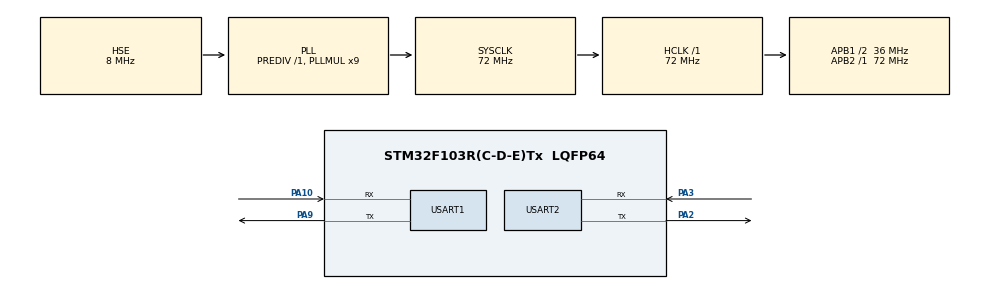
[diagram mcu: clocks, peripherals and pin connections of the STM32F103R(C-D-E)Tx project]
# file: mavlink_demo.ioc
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Mcu.Family=STM32F1
Mcu.Name=STM32F103R(C-D-E)Tx
Mcu.Package=LQFP64
NVIC.PriorityGroup=NVIC_PRIORITYGROUP_4
NVIC.USART1_IRQn=true\:0\:0\:false\:false\:true\:true\:true\:true
PA10.Mode=Asynchronous
PA10.Signal=USART1_RX
PA13.Mode=Serial_Wire
PA13.Signal=SYS_JTMS-SWDIO
PA14.Mode=Serial_Wire
PA14.Signal=SYS_JTCK-SWCLK
PA2.Mode=Asynchronous
PA2.Signal=USART2_TX
PA3.Mode=Asynchronous
PA3.Signal=USART2_RX
PA9.Mode=Asynchronous
PA9.Signal=USART1_TX
PD0-OSC_IN.Mode=HSE-External-Oscillator
PD0-OSC_IN.Signal=RCC_OSC_IN
PD1-OSC_OUT.Mode=HSE-External-Oscillator
PD1-OSC_OUT.Signal=RCC_OSC_OUT
ProjectManager.HeapSize=0x200
ProjectManager.StackSize=0x400
ProjectManager.TargetToolchain=Makefile
RCC.AHBFreq_Value=72000000
RCC.APB1CLKDivider=RCC_HCLK_DIV2
RCC.APB1Freq_Value=36000000
RCC.APB1TimFreq_Value=72000000
RCC.APB2Freq_Value=72000000
RCC.APB2TimFreq_Value=72000000
RCC.HCLKFreq_Value=72000000
RCC.PLLMUL=RCC_PLL_MUL9
RCC.PLLSourceVirtual=RCC_PLLSOURCE_HSE
RCC.SYSCLKFreq_VALUE=72000000
RCC.SYSCLKSource=RCC_SYSCLKSOURCE_PLLCLK
RCC.USBFreq_Value=72000000
USART1.VirtualMode=VM_ASYNC
USART2.VirtualMode=VM_ASYNC
board=custom

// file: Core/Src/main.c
/* USER CODE BEGIN Header */
/**
 ******************************************************************************
 * @file           : main.c
 * @brief          : Main program body
 ******************************************************************************
 * @attention
 *
 * Copyright (c) 2024 STMicroelectronics.
 * All rights reserved.
 *
 * This software is licensed under terms that can be found in the LICENSE file
 * in the root directory of this software component.
 * If no LICENSE file comes with this software, it is provided AS-IS.
 *
 ******************************************************************************
 */
/* USER CODE END Header */
#include "main.h"
#include "usart.h"
#include "gpio.h"

/* USER CODE BEGIN Includes */
#include "wtr_mavlink.h"
/* USER CODE END Includes */

void SystemClock_Config(void);

/* USER CODE BEGIN 0 */
mavlink_gyro_t gyroStructToBeSend, gyroStructReceived;
mavlink_speed_t speedStructToBeSend, speedStructReceived;
/* USER CODE END 0 */

int main(void)
{

    /* MCU Configuration--------------------------------------------------------*/

    /* Reset of all peripherals, Initializes the Flash interface and the Systick. */
    HAL_Init();

    /* Configure the system clock */
    SystemClock_Config();

    /* Initialize all configured peripherals */
    MX_GPIO_Init();
    MX_USART1_UART_Init();
    MX_USART2_UART_Init();
    /* USER CODE BEGIN 2 */
    // 绑定串口和通道
    wtrMavlink_BindChannel(&huart1, MAVLINK_COMM_0);
    wtrMavlink_BindChannel(&huart2, MAVLINK_COMM_1);
    // 开启通道0的接收中断
    wtrMavlink_StartReceiveIT(MAVLINK_COMM_0);
    /* USER CODE END 2 */

    /* Infinite loop */
    while (1) {

        /* USER CODE BEGIN 3 */
        gyroStructToBeSend.ax += 1;
        gyroStructToBeSend.ay += 2;
        gyroStructToBeSend.az += -2;
        speedStructToBeSend.vz += -1;
        speedStructToBeSend.vx += 0.5;
        speedStructToBeSend.vy += -0.5;

        // 向通道1发送结构体
        mavlink_msg_gyro_send_struct(MAVLINK_COMM_1, &gyroStructToBeSend);
        mavlink_msg_speed_send_struct(MAVLINK_COMM_1, &speedStructToBeSend);
        HAL_Delay(100);
    }
    /* USER CODE END 3 */
}

void SystemClock_Config(void)
{
    RCC_OscInitTypeDef RCC_OscInitStruct = {0};
    RCC_ClkInitTypeDef RCC_ClkInitStruct = {0};

    /** Initializes the RCC Oscillators according to the specified parameters
     * in the RCC_OscInitTypeDef structure.
     */
    RCC_OscInitStruct.OscillatorType = RCC_OSCILLATORTYPE_HSE;
    RCC_OscInitStruct.HSEState       = RCC_HSE_ON;
    RCC_OscInitStruct.HSEPredivValue = RCC_HSE_PREDIV_DIV1;
    RCC_OscInitStruct.HSIState       = RCC_HSI_ON;
    RCC_OscInitStruct.PLL.PLLState   = RCC_PLL_ON;
    RCC_OscInitStruct.PLL.PLLSource  = RCC_PLLSOURCE_HSE;
    RCC_OscInitStruct.PLL.PLLMUL     = RCC_PLL_MUL9;
    if (HAL_RCC_OscConfig(&RCC_OscInitStruct) != HAL_OK) {
        Error_Handler();
    }

    /** Initializes the CPU, AHB and APB buses clocks
     */
    RCC_ClkInitStruct.ClockType      = RCC_CLOCKTYPE_HCLK | RCC_CLOCKTYPE_SYSCLK | RCC_CLOCKTYPE_PCLK1 | RCC_CLOCKTYPE_PCLK2;
    RCC_ClkInitStruct.SYSCLKSource   = RCC_SYSCLKSOURCE_PLLCLK;
    RCC_ClkInitStruct.AHBCLKDivider  = RCC_SYSCLK_DIV1;
    RCC_ClkInitStruct.APB1CLKDivider = RCC_HCLK_DIV2;
    RCC_ClkInitStruct.APB2CLKDivider = RCC_HCLK_DIV1;

    if (HAL_RCC_ClockConfig(&RCC_ClkInitStruct, FLASH_LATENCY_2) != HAL_OK) {
        Error_Handler();
    }
}

/* USER CODE BEGIN 4 */
void HAL_UART_RxCpltCallback(UART_HandleTypeDef *huart)
{
    // 接收通道0的消息
    wtrMavlink_UARTRxCpltCallback(huart, MAVLINK_COMM_0);
}

void wtrMavlink_MsgRxCpltCallback(mavlink_message_t *msg)
{
    switch (msg->msgid) {
        case MAVLINK_MSG_ID_SPEED:
            // 将接收到的消息解码
            mavlink_msg_speed_decode(msg, &speedStructReceived);
            break;
        case MAVLINK_MSG_ID_GYRO:
            // 将接收到的消息解码
            mavlink_msg_gyro_decode(msg, &gyroStructReceived);
            break;
        // ......
        default:
            break;
    }
}
/* USER CODE END 4 */

void Error_Handler(void)
{
    __disable_irq();
    while (1) {
    }
}
